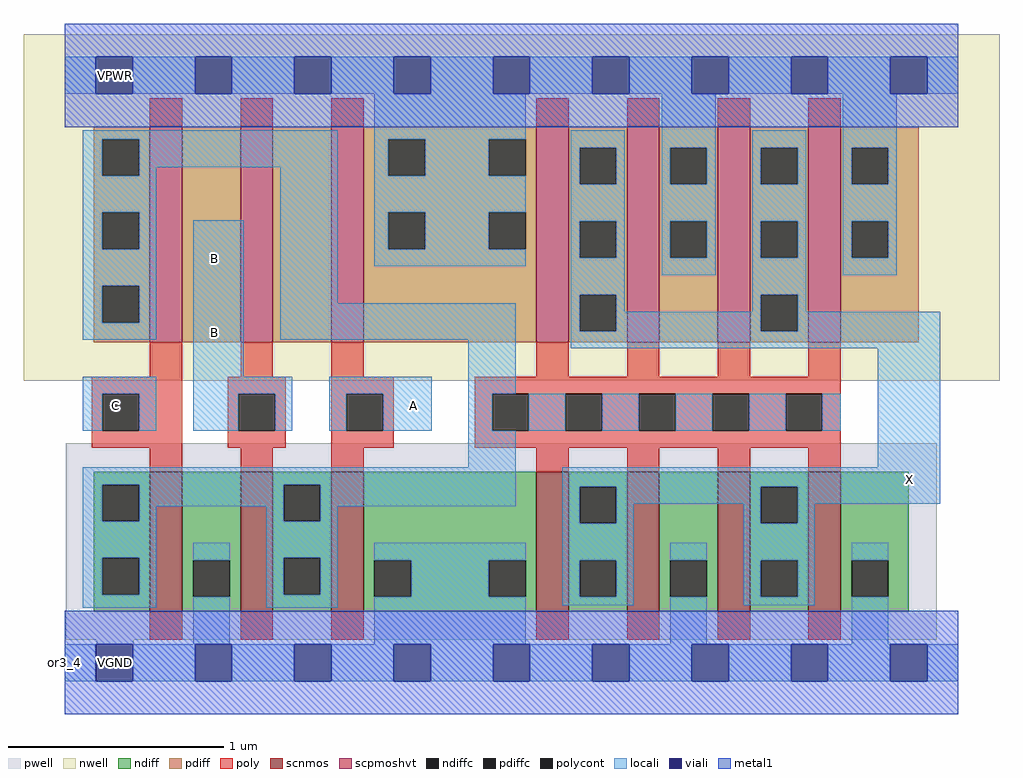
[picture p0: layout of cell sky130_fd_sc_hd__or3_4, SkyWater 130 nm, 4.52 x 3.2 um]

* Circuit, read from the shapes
.subckt sky130_fd_sc_hd__or3_4 VPWR VGND VPB VNB B C A X
XM1 VGND C n1 VNB sky130_fd_pr__nfet_01v8 w=0.65 l=0.15
XM2 n1 B VGND VNB sky130_fd_pr__nfet_01v8 w=0.65 l=0.15
XM3 VGND A n1 VNB sky130_fd_pr__nfet_01v8 w=0.65 l=0.15
XM4 X n1 VGND VNB sky130_fd_pr__nfet_01v8 w=0.65 l=0.15 m=4
XM5 n2 C n1 VPB sky130_fd_pr__pfet_01v8_hvt w=1 l=0.15
XM6 n3 B n2 VPB sky130_fd_pr__pfet_01v8_hvt w=1 l=0.15
XM7 VPWR A n3 VPB sky130_fd_pr__pfet_01v8_hvt w=1 l=0.15
XM8 X n1 VPWR VPB sky130_fd_pr__pfet_01v8_hvt w=1 l=0.15 m=4
.ends

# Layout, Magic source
magic
tech sky130B
magscale 1 2
<< nwell >>
rect -38 221 866 542
<< pwell >>
rect 1 -19 808 163
rect 30 -57 64 -19
<< scnmos >>
rect 79 7 109 137
rect 163 7 193 137
rect 247 7 277 137
rect 437 7 467 137
rect 521 7 551 137
rect 605 7 635 137
rect 689 7 719 137
<< scpmoshvt >>
rect 79 257 109 457
rect 163 257 193 457
rect 247 257 277 457
rect 437 257 467 457
rect 521 257 551 457
rect 605 257 635 457
rect 689 257 719 457
<< ndiff >>
rect 27 125 79 137
rect 27 91 35 125
rect 69 91 79 125
rect 27 57 79 91
rect 27 23 35 57
rect 69 23 79 57
rect 27 7 79 23
rect 109 55 163 137
rect 109 21 119 55
rect 153 21 163 55
rect 109 7 163 21
rect 193 125 247 137
rect 193 91 203 125
rect 237 91 247 125
rect 193 57 247 91
rect 193 23 203 57
rect 237 23 247 57
rect 193 7 247 23
rect 277 55 437 137
rect 277 21 287 55
rect 321 21 393 55
rect 427 21 437 55
rect 277 7 437 21
rect 467 123 521 137
rect 467 89 477 123
rect 511 89 521 123
rect 467 55 521 89
rect 467 21 477 55
rect 511 21 521 55
rect 467 7 521 21
rect 551 55 605 137
rect 551 21 561 55
rect 595 21 605 55
rect 551 7 605 21
rect 635 123 689 137
rect 635 89 645 123
rect 679 89 689 123
rect 635 55 689 89
rect 635 21 645 55
rect 679 21 689 55
rect 635 7 689 21
rect 719 55 782 137
rect 719 21 729 55
rect 763 21 782 55
rect 719 7 782 21
<< pdiff >>
rect 27 445 79 457
rect 27 411 35 445
rect 69 411 79 445
rect 27 377 79 411
rect 27 343 35 377
rect 69 343 79 377
rect 27 309 79 343
rect 27 275 35 309
rect 69 275 79 309
rect 27 257 79 275
rect 109 257 163 457
rect 193 257 247 457
rect 277 445 437 457
rect 277 411 300 445
rect 334 411 393 445
rect 427 411 437 445
rect 277 377 437 411
rect 277 343 300 377
rect 334 343 393 377
rect 427 343 437 377
rect 277 257 437 343
rect 467 437 521 457
rect 467 403 477 437
rect 511 403 521 437
rect 467 369 521 403
rect 467 335 477 369
rect 511 335 521 369
rect 467 301 521 335
rect 467 267 477 301
rect 511 267 521 301
rect 467 257 521 267
rect 551 437 605 457
rect 551 403 561 437
rect 595 403 605 437
rect 551 369 605 403
rect 551 335 561 369
rect 595 335 605 369
rect 551 257 605 335
rect 635 437 689 457
rect 635 403 645 437
rect 679 403 689 437
rect 635 369 689 403
rect 635 335 645 369
rect 679 335 689 369
rect 635 301 689 335
rect 635 267 645 301
rect 679 267 689 301
rect 635 257 689 267
rect 719 437 791 457
rect 719 403 729 437
rect 763 403 791 437
rect 719 369 791 403
rect 719 335 729 369
rect 763 335 791 369
rect 719 257 791 335
<< ndiffc >>
rect 35 91 69 125
rect 35 23 69 57
rect 119 21 153 55
rect 203 91 237 125
rect 203 23 237 57
rect 287 21 321 55
rect 393 21 427 55
rect 477 89 511 123
rect 477 21 511 55
rect 561 21 595 55
rect 645 89 679 123
rect 645 21 679 55
rect 729 21 763 55
<< pdiffc >>
rect 35 411 69 445
rect 35 343 69 377
rect 35 275 69 309
rect 300 411 334 445
rect 393 411 427 445
rect 300 343 334 377
rect 393 343 427 377
rect 477 403 511 437
rect 477 335 511 369
rect 477 267 511 301
rect 561 403 595 437
rect 561 335 595 369
rect 645 403 679 437
rect 645 335 679 369
rect 645 267 679 301
rect 729 403 763 437
rect 729 335 763 369
<< poly >>
rect 79 457 109 483
rect 163 457 193 483
rect 247 457 277 483
rect 437 457 467 483
rect 521 457 551 483
rect 605 457 635 483
rect 689 457 719 483
rect 79 225 109 257
rect 163 225 193 257
rect 247 225 277 257
rect 437 225 467 257
rect 521 225 551 257
rect 605 225 635 257
rect 689 225 719 257
rect 25 209 109 225
rect 25 175 35 209
rect 69 175 109 209
rect 25 159 109 175
rect 151 209 205 225
rect 151 175 161 209
rect 195 175 205 209
rect 151 159 205 175
rect 247 209 305 225
rect 247 175 261 209
rect 295 175 305 209
rect 247 159 305 175
rect 380 209 719 225
rect 380 175 396 209
rect 430 175 464 209
rect 498 175 532 209
rect 566 175 600 209
rect 634 175 668 209
rect 702 175 719 209
rect 380 159 719 175
rect 79 137 109 159
rect 163 137 193 159
rect 247 137 277 159
rect 437 137 467 159
rect 521 137 551 159
rect 605 137 635 159
rect 689 137 719 159
rect 79 -19 109 7
rect 163 -19 193 7
rect 247 -19 277 7
rect 437 -19 467 7
rect 521 -19 551 7
rect 605 -19 635 7
rect 689 -19 719 7
<< polycont >>
rect 35 175 69 209
rect 161 175 195 209
rect 261 175 295 209
rect 396 175 430 209
rect 464 175 498 209
rect 532 175 566 209
rect 600 175 634 209
rect 668 175 702 209
<< locali >>
rect 0 487 29 521
rect 63 487 121 521
rect 155 487 213 521
rect 247 487 305 521
rect 339 487 397 521
rect 431 487 489 521
rect 523 487 581 521
rect 615 487 673 521
rect 707 487 765 521
rect 799 487 828 521
rect 17 445 253 453
rect 17 411 35 445
rect 69 419 253 445
rect 69 411 85 419
rect 17 377 85 411
rect 17 343 35 377
rect 69 343 85 377
rect 17 309 85 343
rect 17 275 35 309
rect 69 275 85 309
rect 17 259 85 275
rect 119 225 166 370
rect 200 293 253 419
rect 287 445 427 487
rect 287 411 300 445
rect 334 411 393 445
rect 287 377 427 411
rect 287 343 300 377
rect 334 343 393 377
rect 287 327 427 343
rect 469 437 519 453
rect 469 403 477 437
rect 511 403 519 437
rect 469 369 519 403
rect 469 335 477 369
rect 511 335 519 369
rect 469 301 519 335
rect 553 437 603 487
rect 553 403 561 437
rect 595 403 603 437
rect 553 369 603 403
rect 553 335 561 369
rect 595 335 603 369
rect 553 319 603 335
rect 637 437 687 453
rect 637 403 645 437
rect 679 403 687 437
rect 637 369 687 403
rect 637 335 645 369
rect 679 335 687 369
rect 200 259 418 293
rect 17 209 85 225
rect 17 175 35 209
rect 69 175 85 209
rect 119 209 211 225
rect 119 175 161 209
rect 195 175 211 209
rect 245 209 340 225
rect 245 175 261 209
rect 295 175 340 209
rect 374 209 418 259
rect 469 267 477 301
rect 511 285 519 301
rect 637 301 687 335
rect 721 437 771 487
rect 721 403 729 437
rect 763 403 771 437
rect 721 369 771 403
rect 721 335 729 369
rect 763 335 771 369
rect 721 319 771 335
rect 637 285 645 301
rect 511 267 645 285
rect 679 285 687 301
rect 679 267 811 285
rect 469 251 811 267
rect 374 175 396 209
rect 430 175 464 209
rect 498 175 532 209
rect 566 175 600 209
rect 634 175 668 209
rect 702 175 719 209
rect 374 141 418 175
rect 753 141 811 251
rect 17 125 418 141
rect 17 91 35 125
rect 69 105 203 125
rect 69 91 85 105
rect 17 57 85 91
rect 187 91 203 105
rect 237 105 418 125
rect 461 123 811 141
rect 237 91 253 105
rect 17 23 35 57
rect 69 23 85 57
rect 17 11 85 23
rect 119 55 153 71
rect 119 -23 153 21
rect 187 57 253 91
rect 461 89 477 123
rect 511 107 645 123
rect 511 89 527 107
rect 187 23 203 57
rect 237 23 253 57
rect 187 11 253 23
rect 287 55 427 71
rect 321 21 393 55
rect 287 -23 427 21
rect 461 55 527 89
rect 629 89 645 107
rect 679 107 811 123
rect 679 89 695 107
rect 461 21 477 55
rect 511 21 527 55
rect 461 13 527 21
rect 561 55 595 71
rect 561 -23 595 21
rect 629 55 695 89
rect 629 21 645 55
rect 679 21 695 55
rect 629 13 695 21
rect 729 55 763 71
rect 729 -23 763 21
rect 0 -57 29 -23
rect 63 -57 121 -23
rect 155 -57 213 -23
rect 247 -57 305 -23
rect 339 -57 397 -23
rect 431 -57 489 -23
rect 523 -57 581 -23
rect 615 -57 673 -23
rect 707 -57 765 -23
rect 799 -57 828 -23
<< viali >>
rect 29 487 63 521
rect 121 487 155 521
rect 213 487 247 521
rect 305 487 339 521
rect 397 487 431 521
rect 489 487 523 521
rect 581 487 615 521
rect 673 487 707 521
rect 765 487 799 521
rect 29 -57 63 -23
rect 121 -57 155 -23
rect 213 -57 247 -23
rect 305 -57 339 -23
rect 397 -57 431 -23
rect 489 -57 523 -23
rect 581 -57 615 -23
rect 673 -57 707 -23
rect 765 -57 799 -23
<< metal1 >>
rect 0 521 828 552
rect 0 487 29 521
rect 63 487 121 521
rect 155 487 213 521
rect 247 487 305 521
rect 339 487 397 521
rect 431 487 489 521
rect 523 487 581 521
rect 615 487 673 521
rect 707 487 765 521
rect 799 487 828 521
rect 0 456 828 487
rect 0 -23 828 8
rect 0 -57 29 -23
rect 63 -57 121 -23
rect 155 -57 213 -23
rect 247 -57 305 -23
rect 339 -57 397 -23
rect 431 -57 489 -23
rect 523 -57 581 -23
rect 615 -57 673 -23
rect 707 -57 765 -23
rect 799 -57 828 -23
rect 0 -88 828 -57
<< labels >>
rlabel comment s 0 -40 0 -40 4 or3_4
flabel metal1 s 30 487 64 521 0 FreeSans 200 0 0 0 VPWR
port 2 nsew
flabel metal1 s 30 -57 64 -23 0 FreeSans 200 0 0 0 VGND
port 3 nsew
flabel nwell s 30 487 64 521 0 FreeSans 200 0 0 0 VPB
port 5 nsew
flabel pwell s 30 -57 64 -23 0 FreeSans 200 0 0 0 VNB
port 6 nsew
flabel locali s 306 181 340 215 0 FreeSans 400 0 0 0 A
port 9 nsew
flabel locali s 766 113 800 147 0 FreeSans 200 0 0 0 X
port 10 nsew
flabel locali s 122 317 156 351 0 FreeSans 400 0 0 0 B
port 7 nsew
flabel locali s 30 181 64 215 0 FreeSans 400 0 0 0 C
port 8 nsew
flabel locali s 122 249 156 283 0 FreeSans 400 0 0 0 B
port 7 nsew
<< properties >>
string FIXED_BBOX 0 -40 828 504
string path 0.000 -1.000 20.700 -1.000 
<< end >>
